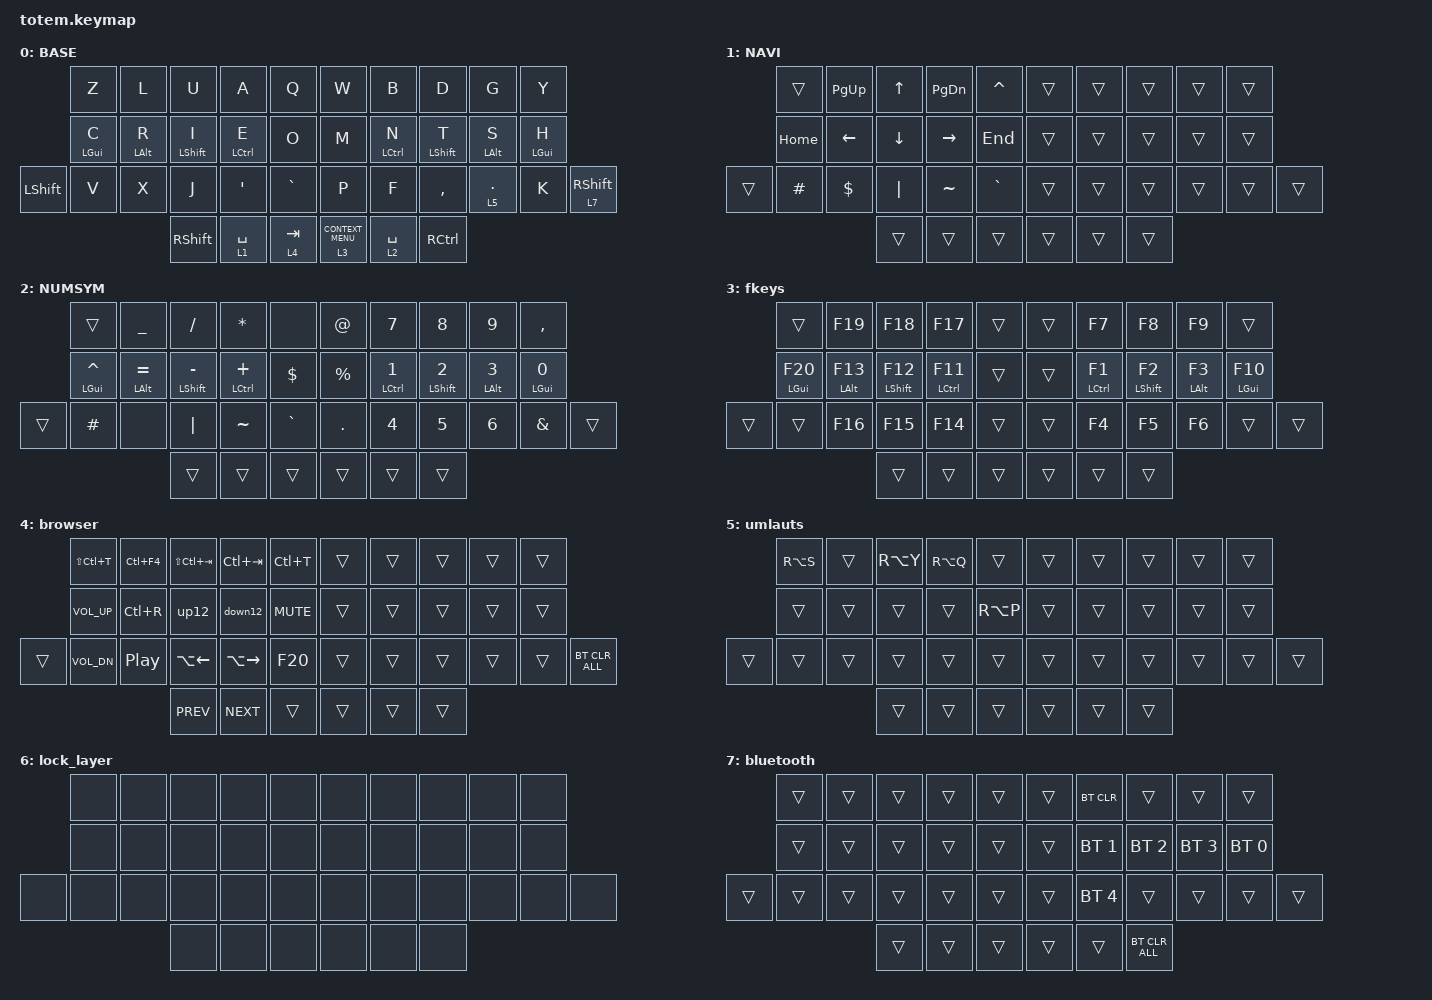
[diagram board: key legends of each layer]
//
//                                                        ▀▀▀▀▀     ▀▀▀▀▀          ▀▀█▀▀
//                                                        ▄▀▀▀▄  ▄  ▄▀▀▀▄  ▄  ▄▀▀▀▄  █  ▄▀▀▀▄
//                                                        █   █  █  █   █  █  █   █  █  █   █
//                                                         ▀▀▀   █   ▀▀▀   █   ▀▀▀   ▀   ▀▀▀
//                                                               █      ▄▄▄█▄▄▄    █   █  
//                                                               ▀      █  █  █     █▄█
//                                                             ▀▀▀▀▀    █  █  █      ▀
//                                                                      ▀  ▀  ▀
//
// ▄▄▄▄▄▄▄▄▄▄▄▄▄▄▄▄▄▄▄▄▄▄▄▄▄▄▄▄▄▄▄▄▄▄▄▄▄▄▄▄▄▄▄▄▄▄▄▄▄▄▄▄▄▄▄▄▄▄▄▄▄▄▄▄▄▄▄▄▄▄▄▄▄▄▄▄▄▄▄▄▄▄▄▄▄▄▄▄▄▄▄▄▄▄▄▄▄▄▄▄▄▄▄▄▄▄▄▄▄▄▄▄▄▄▄▄▄▄▄▄▄▄▄▄▄▄▄▄▄▄▄▄▄▄▄▄▄▄▄▄▄▄▄▄▄▄▄▄▄

#include <behaviors.dtsi>
#include <dt-bindings/zmk/bt.h>
#include <dt-bindings/zmk/keys.h>

#define BASE 0
#define NAV  1
#define SYM  2
#define ADJ  3
#define TVP1 4
#define TVP2 5

&mt {
    quick-tap-ms = <175>;
    global-quick-tap;
    flavor = "balanced";
    tapping-term-ms = <190>;
};

/ {
    combos {
        compatible = "zmk,combos";

        bsp_l {
            bindings = <&kp BACKSPACE>;
            key-positions = <2 1>;
        };

        cbsp_l {
            bindings = <&kp LC(BACKSPACE)>;
            key-positions = <1 3>;
        };

        del_l {
            bindings = <&kp DEL>;
            key-positions = <2 3>;
        };

        term_cbsp_l {
            bindings = <&kp LC(W)>;
            key-positions = <0 3>;
        };

        bsp_r {
            bindings = <&kp BACKSPACE>;
            key-positions = <7 6>;
        };

        cbsp_r {
            bindings = <&kp LC(BACKSPACE)>;
            key-positions = <6 8>;
        };

        del_r {
            bindings = <&kp DEL>;
            key-positions = <7 8>;
        };

        term_cbsp_r {
            bindings = <&kp LC(W)>;
            key-positions = <6 9>;
        };

        lpar {
            bindings = <&kp LPAR>;
            key-positions = <3 13>;
        };

        rpar {
            bindings = <&kp RPAR>;
            key-positions = <6 16>;
        };

        lbrack {
            bindings = <&kp LEFT_BRACKET>;
            key-positions = <2 12>;
        };

        rbrack {
            bindings = <&kp RIGHT_BRACKET>;
            key-positions = <7 17>;
        };

        lbrace {
            bindings = <&kp LEFT_BRACE>;
            key-positions = <1 11>;
        };

        rbrace {
            bindings = <&kp RIGHT_BRACE>;
            key-positions = <8 18>;
        };

        backslash {
            bindings = <&kp BACKSLASH>;
            key-positions = <0 10>;
        };

        forwardslash {
            bindings = <&kp SLASH>;
            key-positions = <9 19>;
        };

        lessthan {
            bindings = <&kp LESS_THAN>;
            key-positions = <4 14>;
        };

        greaterthan {
            bindings = <&kp GREATER_THAN>;
            key-positions = <15 5>;
        };

        enter_l {
            bindings = <&kp ENTER>;
            key-positions = <24 23>;
        };

        enter_r {
            bindings = <&kp ENTER>;
            key-positions = <27 28>;
        };

        tab_l {
            bindings = <&kp TAB>;
            key-positions = <22 24>;
        };

        tab_r {
            bindings = <&kp TAB>;
            key-positions = <27 29>;
        };

        esc_l {
            bindings = <&kp ESC>;
            key-positions = <22 23>;
        };

        esc_r {
            bindings = <&kp ESC>;
            key-positions = <28 29>;
        };

        colon {
            bindings = <&kp COLON>;
            key-positions = <18 29>;
        };

        semicolon {
            bindings = <&kp SEMI>;
            key-positions = <28 17>;
        };

        question {
            bindings = <&kp QUESTION>;
            key-positions = <16 15>;
        };

        exclamation {
            bindings = <&kp EXCL>;
            key-positions = <6 5>;
        };

        space_l {
            bindings = <&kp SPACE>;
            key-positions = <13 12 11>;
        };

        space_r {
            bindings = <&kp SPACE>;
            key-positions = <16 17 18>;
        };

        lock_keyboard {
            bindings = <&tog 6>;
            key-positions = <21 22 23 24>;
        };

        capsword {
            bindings = <&caps_word>;
            key-positions = <12 17>;
        };
    };

    macros {
        gif: gif {
            label = "giphy";
            compatible = "zmk,behavior-macro";
            #binding-cells = <0>;
            bindings =
                <&macro_press>,
                <&kp LSHFT>,
                <&macro_tap>,
                <&kp N2>,
                <&macro_release>,
                <&kp LSHFT>,
                <&macro_tap>,
                <&kp G &kp I &kp F>;
        };

        down12: down12 {
            compatible = "zmk,behavior-macro";
            #binding-cells = <0>;
            bindings = <&kp DOWN &kp DOWN &kp DOWN &kp DOWN &kp DOWN &kp DOWN &kp DOWN &kp DOWN &kp DOWN &kp DOWN &kp DOWN &kp DOWN>;
            label = "DOWN12";
            wait-ms = <5>;
            tap-ms = <5>;
        };

        up12: up12 {
            compatible = "zmk,behavior-macro";
            #binding-cells = <0>;
            bindings = <&kp UP_ARROW &kp UP &kp UP &kp UP &kp UP &kp UP &kp UP &kp UP &kp UP &kp UP &kp UP &kp UP>;
            label = "UP12";
            tap-ms = <5>;
            wait-ms = <5>;
        };
    };

    keymap {
        compatible = "zmk,keymap";

        // ▄▄▄▄▄▄▄▄▄▄▄▄▄▄▄▄▄▄▄▄▄▄▄▄▄▄▄▄▄▄▄▄▄▄▄▄▄▄▄▄▄▄▄▄▄▄▄▄▄▄▄▄▄▄▄▄▄▄▄▄▄▄▄▄▄▄▄▄▄▄▄▄▄▄▄▄▄▄▄▄▄▄▄▄▄▄▄▄▄▄▄▄▄▄▄▄▄▄▄▄▄▄▄▄▄▄▄▄▄▄▄▄▄▄▄▄▄▄▄▄▄▄▄▄▄▄▄▄▄▄▄▄▄▄▄▄▄▄▄▄▄▄▄▄▄▄▄▄▄

        base_layer {
            // ┏━━━━━━━━━━━━━━━━━━━━━━━━━━━━━━━━━━━━━━━┓

            label = "BASE";

            // ┗━━━━━━━━━━━━━━━━━━━━━━━━━━━━━━━━━━━━━━━┛
            //             ┏━━━━━━━━━━━┳━━━━━━━━━━━┳━━━━━━━━━━━┳━━━━━━━━━━━┳━━━━━━━━━━━┓   ┏━━━━━━━━━━━┳━━━━━━━━━━━┳━━━━━━━━━━━┳━━━━━━━━━━━┳━━━━━━━━━━━┓
            //             ┃     Q     ┃     W     ┃     F     ┃     P     ┃     G     ┃   ┃     J     ┃     L     ┃     U     ┃     Y     ┃     ;     ┃
            //             ┣━━━━━━━━━━━╋━━━━━━━━━━━╋━━━━━━━━━━━╋━━━━━━━━━━━╋━━━━━━━━━━━┫   ┣━━━━━━━━━━━╋━━━━━━━━━━━╋━━━━━━━━━━━╋━━━━━━━━━━━╋━━━━━━━━━━━┫
            //             ┃     A     ┃     R     ┃     S     ┃     T     ┃     D     ┃   ┃     H     ┃     N     ┃     E     ┃     I     ┃     O     ┃
            // ┏━━━━━━━━━━━╋━━━━━━━━━━━╋━━━━━━━━━━━╋━━━━━━━━━━━╋━━━━━━━━━━━╋━━━━━━━━━━━┫   ┣━━━━━━━━━━━╋━━━━━━━━━━━╋━━━━━━━━━━━╋━━━━━━━━━━━╋━━━━━━━━━━━╋━━━━━━━━━━━┓
            // ┃     Q     ┃     Z     ┃     X     ┃     C     ┃     V     ┃     B     ┃   ┃     K     ┃     M     ┃     ,     ┃     .     ┃     /     ┃     \     ┃
            // ┗━━━━━━━━━━━┻━━━━━━━━━━━┻━━━━━━━━━━━╋━━━━━━━━━━━╋━━━━━━━━━━━╋━━━━━━━━━━━┫   ┣━━━━━━━━━━━╋━━━━━━━━━━━╋━━━━━━━━━━━╋━━━━━━━━━━━┻━━━━━━━━━━━┻━━━━━━━━━━━┛
            //                                     ┃    DEL    ┃    TAB    ┃    SPC    ┃   ┃   ENTER   ┃           ┃   BSPC    ┃
            //                                     ┗━━━━━━━━━━━┻━━━━━━━━━━━┻━━━━━━━━━━━┛   ┗━━━━━━━━━━━┻━━━━━━━━━━━┻━━━━━━━━━━━┛

            bindings = <
                &kp Z       &kp L       &kp U         &kp A        &kp Q        &kp W                 &kp B        &kp D         &kp G           &kp Y
                &mt LGUI C  &mt LALT R  &mt LSHIFT I  &mt LCTRL E  &kp O        &kp M                 &mt LCTRL N  &mt LSHIFT T  &mt LEFT_ALT S  &mt LEFT_GUI H
&kp LEFT_SHIFT  &kp V       &kp X       &kp J         &kp SQT      &kp GRAVE    &kp P                 &kp F        &kp COMMA     &lt 5 DOT       &kp K           &lt 7 RIGHT_SHIFT
                                        &kp RSHFT     &lt 1 SPACE  &lt 4 TAB    &lt 3 K_CONTEXT_MENU  &lt 2 SPACE  &kp RCTRL
            >;
        };

        // ▄▄▄▄▄▄▄▄▄▄▄▄▄▄▄▄▄▄▄▄▄▄▄▄▄▄▄▄▄▄▄▄▄▄▄▄▄▄▄▄▄▄▄▄▄▄▄▄▄▄▄▄▄▄▄▄▄▄▄▄▄▄▄▄▄▄▄▄▄▄▄▄▄▄▄▄▄▄▄▄▄▄▄▄▄▄▄▄▄▄▄▄▄▄▄▄▄▄▄▄▄▄▄▄▄▄▄▄▄▄▄▄▄▄▄▄▄▄▄▄▄▄▄▄▄▄▄▄▄▄▄▄▄▄▄▄▄▄▄▄▄▄▄▄▄▄▄▄▄

        nav_layer {
            // ┏━━━━━━━━━━━━━━━━━━━━━━━━━━━━━━━━━━━━━━━┓

            label = "NAVI";

            // ┗━━━━━━━━━━━━━━━━━━━━━━━━━━━━━━━━━━━━━━━┛
            //             ┏━━━━━━━━━━━┳━━━━━━━━━━━┳━━━━━━━━━━━┳━━━━━━━━━━━┳━━━━━━━━━━━┓   ┏━━━━━━━━━━━┳━━━━━━━━━━━┳━━━━━━━━━━━┳━━━━━━━━━━━┳━━━━━━━━━━━┓
            //             ┃           ┃           ┃     UP    ┃           ┃     {     ┃   ┃     }     ┃     7     ┃     8     ┃     9     ┃     +     ┃
            //             ┣━━━━━━━━━━━╋━━━━━━━━━━━╋━━━━━━━━━━━╋━━━━━━━━━━━╋━━━━━━━━━━━┫   ┣━━━━━━━━━━━╋━━━━━━━━━━━╋━━━━━━━━━━━╋━━━━━━━━━━━╋━━━━━━━━━━━┫
            //             ┃   SHIFT   ┃   LEFT    ┃    DOWN   ┃   RIGHT   ┃     [     ┃   ┃     ]     ┃     4     ┃     5     ┃     6     ┃     -     ┃
            // ┏━━━━━━━━━━━╋━━━━━━━━━━━╋━━━━━━━━━━━╋━━━━━━━━━━━╋━━━━━━━━━━━╋━━━━━━━━━━━┫   ┣━━━━━━━━━━━╋━━━━━━━━━━━╋━━━━━━━━━━━╋━━━━━━━━━━━╋━━━━━━━━━━━╋━━━━━━━━━━━┓
            // ┃           ┃           ┃   P UP    ┃  C LOCK   ┃  P DOWN   ┃     (     ┃   ┃     )     ┃     1     ┃     2     ┃     3     ┃     *     ┃           ┃
            // ┗━━━━━━━━━━━┻━━━━━━━━━━━┻━━━━━━━━━━━╋━━━━━━━━━━━╋━━━━━━━━━━━╋━━━━━━━━━━━┫   ┣━━━━━━━━━━━╋━━━━━━━━━━━╋━━━━━━━━━━━╋━━━━━━━━━━━┻━━━━━━━━━━━┻━━━━━━━━━━━┛
            //                                     ┃           ┃    TAB    ┃    SPC    ┃   ┃    DEL    ┃     0     ┃           ┃
            //                                     ┗━━━━━━━━━━━┻━━━━━━━━━━━┻━━━━━━━━━━━┛   ┗━━━━━━━━━━━┻━━━━━━━━━━━┻━━━━━━━━━━━┛

            bindings = <
        &trans    &kp PG_UP   &kp UP    &kp PAGE_DOWN  &kp CARET    &trans  &trans  &trans  &trans  &trans
        &kp HOME  &kp LEFT    &kp DOWN  &kp RIGHT      &kp END      &trans  &trans  &trans  &trans  &trans
&trans  &kp HASH  &kp DOLLAR  &kp PIPE  &kp TILDE      &kp GRAVE    &trans  &trans  &trans  &trans  &trans  &trans
                              &trans    &trans         &trans       &trans  &trans  &trans
            >;
        };

        // ▄▄▄▄▄▄▄▄▄▄▄▄▄▄▄▄▄▄▄▄▄▄▄▄▄▄▄▄▄▄▄▄▄▄▄▄▄▄▄▄▄▄▄▄▄▄▄▄▄▄▄▄▄▄▄▄▄▄▄▄▄▄▄▄▄▄▄▄▄▄▄▄▄▄▄▄▄▄▄▄▄▄▄▄▄▄▄▄▄▄▄▄▄▄▄▄▄▄▄▄▄▄▄▄▄▄▄▄▄▄▄▄▄▄▄▄▄▄▄▄▄▄▄▄▄▄▄▄▄▄▄▄▄▄▄▄▄▄▄▄▄▄▄▄▄▄▄▄▄

        num_sim_layer {
            // ┏━━━━━━━━━━━━━━━━━━━━━━━━━━━━━━━━━━━━━━━┓

            label = "NUMSYM";

            // ┗━━━━━━━━━━━━━━━━━━━━━━━━━━━━━━━━━━━━━━━┛
            //             ┏━━━━━━━━━━━┳━━━━━━━━━━━┳━━━━━━━━━━━┳━━━━━━━━━━━┳━━━━━━━━━━━┓   ┏━━━━━━━━━━━┳━━━━━━━━━━━┳━━━━━━━━━━━┳━━━━━━━━━━━┳━━━━━━━━━━━┓
            //             ┃     !     ┃     @     ┃     #     ┃     $     ┃     %     ┃   ┃     ˆ     ┃     &     ┃     Ü     ┃     '     ┃     "     ┃
            //             ┣━━━━━━━━━━━╋━━━━━━━━━━━╋━━━━━━━━━━━╋━━━━━━━━━━━╋━━━━━━━━━━━┫   ┣━━━━━━━━━━━╋━━━━━━━━━━━╋━━━━━━━━━━━╋━━━━━━━━━━━╋━━━━━━━━━━━┫
            //             ┃     Ä     ┃           ┃    SZ     ┃           ┃           ┃   ┃   MUTE    ┃   YEN     ┃   EURO    ┃  POUND    ┃     Ö     ┃
            // ┏━━━━━━━━━━━╋━━━━━━━━━━━╋━━━━━━━━━━━╋━━━━━━━━━━━╋━━━━━━━━━━━╋━━━━━━━━━━━┫   ┣━━━━━━━━━━━╋━━━━━━━━━━━╋━━━━━━━━━━━╋━━━━━━━━━━━╋━━━━━━━━━━━╋━━━━━━━━━━━┓
            // ┃           ┃  EMAIL1   ┃  EMAIL2   ┃           ┃           ┃           ┃   ┃   VOL-    ┃   VOL+    ┃   LAST    ┃   NEXT    ┃     \     ┃           ┃
            // ┗━━━━━━━━━━━┻━━━━━━━━━━━┻━━━━━━━━━━━╋━━━━━━━━━━━╋━━━━━━━━━━━╋━━━━━━━━━━━┫   ┣━━━━━━━━━━━╋━━━━━━━━━━━╋━━━━━━━━━━━╋━━━━━━━━━━━┻━━━━━━━━━━━┻━━━━━━━━━━━┛
            //                                     ┃           ┃    GIF    ┃    ADJ    ┃   ┃           ┃           ┃           ┃
            //                                     ┗━━━━━━━━━━━┻━━━━━━━━━━━┻━━━━━━━━━━━┛   ┗━━━━━━━━━━━┻━━━━━━━━━━━┻━━━━━━━━━━━┛

            bindings = <
        &trans              &kp UNDER       &kp SLASH        &kp STAR        &none         &kp AT       &kp N7        &kp N8        &kp N9           &kp COMMA
        &mt LEFT_GUI CARET  &mt LALT EQUAL  &mt LSHFT MINUS  &mt LCTRL PLUS  &kp DOLLAR    &kp PERCENT  &mt LCTRL N1  &mt LSHFT N2  &mt LEFT_ALT N3  &mt LGUI N0
&trans  &kp HASH            &none           &kp PIPE         &kp TILDE       &kp GRAVE     &kp PERIOD   &kp N4        &kp N5        &kp NUMBER_6     &kp AMPERSAND  &trans
                                            &trans           &trans          &trans        &trans       &trans        &trans
            >;
        };

        // ▄▄▄▄▄▄▄▄▄▄▄▄▄▄▄▄▄▄▄▄▄▄▄▄▄▄▄▄▄▄▄▄▄▄▄▄▄▄▄▄▄▄▄▄▄▄▄▄▄▄▄▄▄▄▄▄▄▄▄▄▄▄▄▄▄▄▄▄▄▄▄▄▄▄▄▄▄▄▄▄▄▄▄▄▄▄▄▄▄▄▄▄▄▄▄▄▄▄▄▄▄▄▄▄▄▄▄▄▄▄▄▄▄▄▄▄▄▄▄▄▄▄▄▄▄▄▄▄▄▄▄▄▄▄▄▄▄▄▄▄▄▄▄▄▄▄▄▄▄
        // ▄▄▄▄▄▄▄▄▄▄▄▄▄▄▄▄▄▄▄▄▄▄▄▄▄▄▄▄▄▄▄▄▄▄▄▄▄▄▄▄▄▄▄▄▄▄▄▄▄▄▄▄▄▄▄▄▄▄▄▄▄▄▄▄▄▄▄▄▄▄▄▄▄▄▄▄▄▄▄▄▄▄▄▄▄▄▄▄▄▄▄▄▄▄▄▄▄▄▄▄▄▄▄▄▄▄▄▄▄▄▄▄▄▄▄▄▄▄▄▄▄▄▄▄▄▄▄▄▄▄▄▄▄▄▄▄▄▄▄▄▄▄▄▄▄▄▄▄▄
        // ▄▄▄▄▄▄▄▄▄▄▄▄▄▄▄▄▄▄▄▄▄▄▄▄▄▄▄▄▄▄▄▄▄▄▄▄▄▄▄▄▄▄▄▄▄▄▄▄▄▄▄▄▄▄▄▄▄▄▄▄▄▄▄▄▄▄▄▄▄▄▄▄▄▄▄▄▄▄▄▄▄▄▄▄▄▄▄▄▄▄▄▄▄▄▄▄▄▄▄▄▄▄▄▄▄▄▄▄▄▄▄▄▄▄▄▄▄▄▄▄▄▄▄▄▄▄▄▄▄▄▄▄▄▄▄▄▄▄▄▄▄▄▄▄▄▄▄▄▄

        fkeys {
            bindings = <
        &trans            &kp F19           &kp F18        &kp F17        &trans    &trans  &kp F7        &kp F8        &kp F9           &trans
        &mt LEFT_GUI F20  &mt LEFT_ALT F13  &mt LSHFT F12  &mt LCTRL F11  &trans    &trans  &mt LCTRL F1  &mt LSHFT F2  &mt LEFT_ALT F3  &mt LEFT_GUI F10
&trans  &trans            &kp F16           &kp F15        &kp F14        &trans    &trans  &kp F4        &kp F5        &kp F6           &trans            &trans
                                            &trans         &trans         &trans    &trans  &trans        &trans
            >;
        };

        browser {
            bindings = <
        &kp LS(LC(T))    &kp LC(F4)        &kp LS(LC(TAB))  &kp LC(TAB)    &kp LC(T)     &trans  &trans  &trans  &trans  &trans
        &kp C_VOLUME_UP  &kp LC(R)         &up12            &down12        &kp C_MUTE    &trans  &trans  &trans  &trans  &trans
&trans  &kp C_VOL_DN     &kp C_PLAY_PAUSE  &kp LA(LEFT)     &kp LA(RIGHT)  &kp F20       &trans  &trans  &trans  &trans  &trans  &bt BT_CLR_ALL
                                           &kp C_PREV       &kp C_NEXT     &trans        &trans  &trans  &trans
            >;
        };

        umlauts {
            bindings = <
        &kp RA(S)  &trans  &kp RA(Y)  &kp RA(Q)  &trans       &trans  &trans  &trans  &trans  &trans
        &trans     &trans  &trans     &trans     &kp RA(P)    &trans  &trans  &trans  &trans  &trans
&trans  &trans     &trans  &trans     &trans     &trans       &trans  &trans  &trans  &trans  &trans  &trans
                           &trans     &trans     &trans       &trans  &trans  &trans
            >;
        };

        lock_layer {
            bindings = <
       &none  &none  &none  &none  &none    &none  &none  &none  &none  &none
       &none  &none  &none  &none  &none    &none  &none  &none  &none  &none
&none  &none  &none  &none  &none  &none    &none  &none  &none  &none  &none  &none
                     &none  &none  &none    &none  &none  &none
            >;
        };

        bluetooth {
            bindings = <
        &trans  &trans  &trans  &trans  &trans    &trans  &bt BT_CLR    &trans          &trans        &trans
        &trans  &trans  &trans  &trans  &trans    &trans  &bt BT_SEL 1  &bt BT_SEL 2    &bt BT_SEL 3  &bt BT_SEL 0
&trans  &trans  &trans  &trans  &trans  &trans    &trans  &bt BT_SEL 4  &trans          &trans        &trans        &trans
                        &trans  &trans  &trans    &trans  &trans        &bt BT_CLR_ALL
            >;
        };
    };
};
